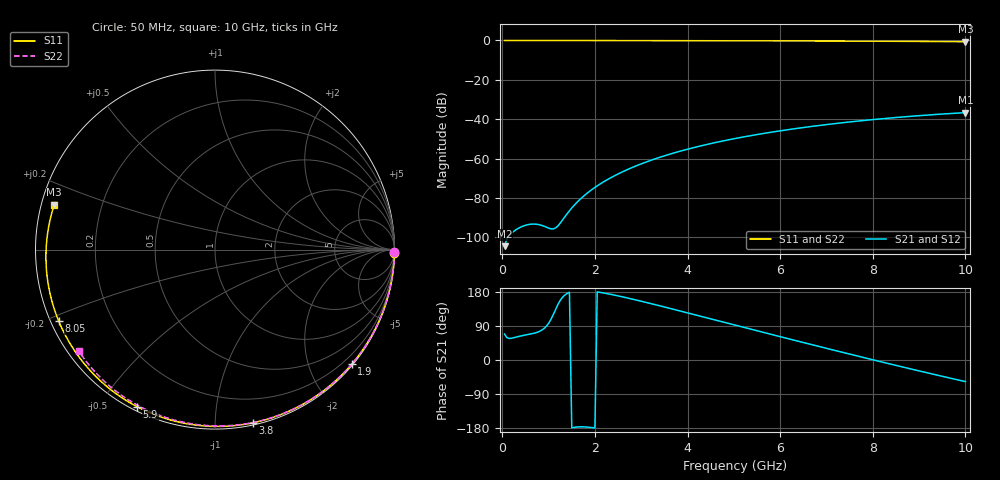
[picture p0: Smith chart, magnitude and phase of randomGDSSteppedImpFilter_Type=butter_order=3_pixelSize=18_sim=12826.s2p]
! freq	dB(S11)	phase(S11)	dB(S12)	phase(S12)
!  dB(S21)	phase(S21)	dB(S22)	phase(S22)
!S-par simulation data
#  GHz  S  DB  R 50
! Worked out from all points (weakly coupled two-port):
!   200 points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, 50 MHz to 10 GHz, reference 50 ohm
!   highest |S21| = -36.66 dB at 10 GHz (marker M1); lowest = -104.5 dB at 50 MHz (marker M2)
!   lowest |S11| = -0.6 dB at 10 GHz (marker M3), VSWR 27.50, Z = 1.85 + j6.83 ohm
!   |S11| at or under -10 dB: nowhere
!   |S22| runs from -0.5 to 0.0 dB; largest |S21 - S12| = 0
!   S11 on the Smith chart (normalised r, x): 50 MHz: open; 1.9 GHz: 0.02, -2.75; 3.8 GHz: 0.02, -1.24; 5.9 GHz: 0.02, -0.62; 8.05 GHz: 0.02, -0.22; 10 GHz: 0.04, +0.14
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0.05  -0.00 -1.1  -104.49 68.4  -104.49 68.4  -0.00 -0.8
0.45  -0.01 -9.7  -94.27 64.7  -94.27 64.7  -0.01 -7.5
0.85  -0.02 -18.1  -93.92 78.7  -93.92 78.7  -0.02 -14.1
1.7  -0.05 -35.9  -80.23 -176.3  -80.23 -176.3  -0.04 -27.9
1.75  -0.05 -36.9  -79.19 -176.4  -79.19 -176.4  -0.04 -28.7
1.9  -0.05 -40.0  -76.34 -177.8  -76.34 -177.8  -0.04 -31.1
2.2  -0.06 -46.1  -71.62 176.6  -71.62 176.6  -0.05 -35.9
2.55  -0.07 -53.2  -67.23 167.9  -67.23 167.9  -0.05 -41.4
2.95  -0.08 -61.1  -63.13 156.6  -63.13 156.6  -0.06 -47.6
3.4  -0.09 -69.9  -59.35 143.0  -59.35 143.0  -0.07 -54.5
3.8  -0.11 -77.6  -56.50 130.6  -56.50 130.6  -0.08 -60.6
4.4  -0.13 -88.9  -52.91 111.7  -52.91 111.7  -0.10 -69.4
5.05  -0.16 -100.9  -49.70 91.2  -49.70 91.2  -0.12 -78.7
5.9  -0.20 -116.3  -46.26 64.7  -46.26 64.7  -0.16 -90.6
6.7  -0.26 -130.7  -43.61 39.9  -43.61 39.9  -0.20 -101.3
7.4  -0.31 -143.4  -41.65 18.6  -41.65 18.6  -0.24 -110.5
8.05  -0.38 -155.5  -40.08 -0.9  -40.08 -0.9  -0.29 -118.8
8.35  -0.41 -161.2  -39.44 -9.8  -39.44 -9.8  -0.31 -122.7
8.8  -0.46 -170.0  -38.56 -23.0  -38.56 -23.0  -0.35 -128.3
9.2  -0.52 -178.2  -37.86 -34.6  -37.86 -34.6  -0.39 -133.4
9.6  -0.57 173.3  -37.22 -45.9  -37.22 -45.9  -0.44 -138.4
10  -0.63 164.4  -36.66 -57.0  -36.66 -57.0  -0.48 -143.5
